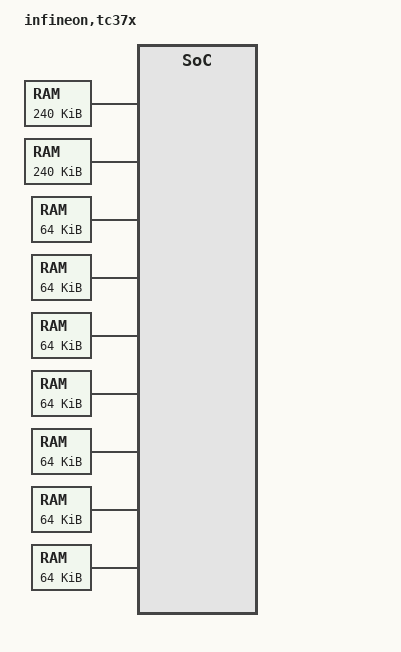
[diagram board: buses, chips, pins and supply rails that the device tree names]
/*
 * Copyright (c) 2024 Infineon Technologies AG
 *
 * SPDX-License-Identifier: Apache-2.0
 */

#include <mem.h>
#include <freq.h>
#include <skeleton.dtsi>
#include <zephyr/dt-bindings/clock/tc3x_clock.h>
#include <zephyr/dt-bindings/gpio/gpio.h>
#include <infineon/tc3x/tc37x-irq.h>
#include <infineon/tc3x/tc3x-common.dtsi>

/ {
	model = "infineon,tc37x";
	compatible = "infineon,tc37x";

	cpus {
		#address-cells = <1>;
		#size-cells = <0>;

		cpu0: cpu@0 {
			compatible = "infineon,tc162";
			reg = <0>;
			clocks = <&fcpu0>;
		};
		cpu1: cpu@1 {
			compatible = "infineon,tc162";
			reg = <1>;
			clocks = <&fcpu1>;
		};
		cpu2: cpu@2 {
			compatible = "infineon,tc162";
			reg = <2>;
			clocks = <&fcpu2>;
		};
	};

	flash_controller: flash_controller@af000000 {
		compatible = "infineon,tc3x-flash-controller";
		#address-cells = <1>;
		#size-cells = <1>;
		reg = <0xaf000000 DT_SIZE_K(256)>;
		flash0: flash@80000000 {
			compatible = "infineon,tc3x-nv-flash","soc-nv-flash";
			write-block-size = <256>;
			reg = <0x80000000 DT_SIZE_M(3)>;
		};
		flash1: flash@80300000 {
			compatible = "infineon,tc3x-nv-flash","soc-nv-flash";
			write-block-size = <256>;
			reg = <0x80300000 DT_SIZE_M(3)>;
		};
	};

	dsram0: memory@70000000 {
		compatible = "zephyr,memory-region","mmio-sram";
		reg = <0x70000000 DT_SIZE_K(240)>;
		zephyr,memory-region = "DSRAM0";
	};
	dsram1: memory@60000000 {
		compatible = "zephyr,memory-region","mmio-sram";
		reg = <0x60000000 DT_SIZE_K(240)>;
		zephyr,memory-region = "DSRAM1";
	};
	dsram2: memory@50000000 {
		compatible = "zephyr,memory-region","mmio-sram";
		reg = <0x50000000 DT_SIZE_K(64)>;
		zephyr,memory-region = "DSRAM2";
	};

	psram0: memory@70100000 {
		compatible = "zephyr,memory-region","mmio-sram";
		reg = <0x70100000 DT_SIZE_K(64)>;
		zephyr,memory-region = "PSRAM0";
	};
	psram1: memory@60100000 {
		compatible = "zephyr,memory-region","mmio-sram";
		reg = <0x60100000 DT_SIZE_K(64)>;
		zephyr,memory-region = "PSRAM1";
	};
	psram2: memory@50100000 {
		compatible = "zephyr,memory-region","mmio-sram";
		reg = <0x50100000 DT_SIZE_K(64)>;
		zephyr,memory-region = "PSRAM2";
	};

	dlmu0: memory@90000000 {
		compatible = "zephyr,memory-region","mmio-sram";
		reg = <0x90000000 DT_SIZE_K(64)>;
		zephyr,memory-region = "DLMU0";
	};
	dlmu1: memory@90010000 {
		compatible = "zephyr,memory-region","mmio-sram";
		reg = <0x90010000 DT_SIZE_K(64)>;
		zephyr,memory-region = "DLMU1";
	};
	dlmu2: memory@90020000 {
		compatible = "zephyr,memory-region","mmio-sram";
		reg = <0x90020000 DT_SIZE_K(64)>;
		zephyr,memory-region = "DLMU2";
	};

	soc {
		#address-cells = <1>;
		#size-cells = <1>;
		interrupt-parent = <&ir>;
		compatible = "simple-bus";
		ranges;

		stm0: timer@f0001000 {
			compatible = "infineon,tc3x-stm";
			reg = <0xF0001000 256>;
			clocks = <&fstm>;
			interrupts = <IRQ_STM0_SR0 1>;
		};
		stm1: timer@f0001100 {
			compatible = "infineon,tc3x-stm";
			reg = <0xF0001100 256>;
			clocks = <&fstm>;
			interrupts = <IRQ_STM1_SR0 1>;
		};
		stm2: timer@f0001200 {
			compatible = "infineon,tc3x-stm";
			reg = <0xF0001200 256>;
			clocks = <&fstm>;
			interrupts = <IRQ_STM2_SR0 1>;
		};

		pinctrl: pinctrl@f003a000 {
			compatible = "infineon,tc3x-pinctrl";
			reg = <0xF003A000 0x100>;
			#address-cells = <1>;
			#size-cells = <1>;

			p00: gpio@f003a000 {
				compatible = "infineon,tc3x-gpio";
				reg = <0xF003A000 0x100>;
				gpio-controller;
				#gpio-cells = <2>;
				status = "disabled";
			};
			p01: gpio@f003a100 {
				compatible = "infineon,tc3x-gpio";
				reg = <0xF003A100 0x100>;
				gpio-controller;
				#gpio-cells = <2>;
				status = "disabled";
			};
			p02: gpio@f003a200 {
				compatible = "infineon,tc3x-gpio";
				reg = <0xF003A200 0x100>;
				gpio-controller;
				#gpio-cells = <2>;
				status = "disabled";
			};
			p10: gpio@f003aa00 {
				compatible = "infineon,tc3x-gpio";
				reg = <0xF003AA00 0x100>;
				gpio-controller;
				#gpio-cells = <2>;
				status = "disabled";
			};
			p11: gpio@f003ab00 {
				compatible = "infineon,tc3x-gpio";
				reg = <0xF003AB00 0x100>;
				gpio-controller;
				#gpio-cells = <2>;
				status = "disabled";
			};
			p12: gpio@f003ac00 {
				compatible = "infineon,tc3x-gpio";
				reg = <0xF003AC00 0x100>;
				gpio-controller;
				#gpio-cells = <2>;
				status = "disabled";
			};
			p13: gpio@f003ad00 {
				compatible = "infineon,tc3x-gpio";
				reg = <0xF003AD00 0x100>;
				gpio-controller;
				#gpio-cells = <2>;
				status = "disabled";
			};
			p14: gpio@f003ae00 {
				compatible = "infineon,tc3x-gpio";
				reg = <0xF003AE00 0x100>;
				gpio-controller;
				#gpio-cells = <2>;
				status = "disabled";
			};
			p15: gpio@f003af00 {
				compatible = "infineon,tc3x-gpio";
				reg = <0xF003AF00 0x100>;
				gpio-controller;
				#gpio-cells = <2>;
				status = "disabled";
			};
			p20: gpio@f003b400 {
				compatible = "infineon,tc3x-gpio";
				reg = <0xF003B400 0x100>;
				gpio-controller;
				#gpio-cells = <2>;
				status = "disabled";
			};
			p21: gpio@f003b500 {
				compatible = "infineon,tc3x-gpio";
				reg = <0xF003B500 0x100>;
				gpio-controller;
				#gpio-cells = <2>;
				status = "disabled";
			};
			p22: gpio@f003b600 {
				compatible = "infineon,tc3x-gpio";
				reg = <0xF003B600 0x100>;
				gpio-controller;
				#gpio-cells = <2>;
				status = "disabled";
			};
			p23: gpio@f003b700 {
				compatible = "infineon,tc3x-gpio";
				reg = <0xF003B700 0x100>;
				gpio-controller;
				#gpio-cells = <2>;
				status = "disabled";
			};
			p32: gpio@f003c000 {
				compatible = "infineon,tc3x-gpio";
				reg = <0xF003C000 0x100>;
				gpio-controller;
				#gpio-cells = <2>;
				status = "disabled";
			};
			p33: gpio@f003c100 {
				compatible = "infineon,tc3x-gpio";
				reg = <0xF003C100 0x100>;
				gpio-controller;
				#gpio-cells = <2>;
				status = "disabled";
			};
			p34: gpio@f003c200 {
				compatible = "infineon,tc3x-gpio";
				reg = <0xF003C200 0x100>;
				gpio-controller;
				#gpio-cells = <2>;
				status = "disabled";
			};
			p40: gpio@f003c800 {
				compatible = "infineon,tc3x-gpio";
				reg = <0xF003C800 0x100>;
				gpio-controller;
				#gpio-cells = <2>;
				status = "disabled";
			};
		};

		asclin0: asclin@f0000600 {
			reg = <0xF0000600 256>;
			interrupts = <IRQ_ASCLIN0_TX 2>, <IRQ_ASCLIN0_RX 3>, <IRQ_ASCLIN0_ERR 4>;
			interrupt-names = "tx", "rx", "err";
			clocks = <&ccu CLOCK_FASCLINF>, <&ccu CLOCK_FASCLINS>;
			clock-names = "fasclinf", "fasclins";
			status = "disabled";
		};
		asclin1: asclin@f0000700 {
			reg = <0xF0000700 256>;
			interrupts = <IRQ_ASCLIN1_TX 2>, <IRQ_ASCLIN1_RX 3>, <IRQ_ASCLIN1_ERR 4>;
			interrupt-names = "tx", "rx", "err";
			clocks = <&ccu CLOCK_FASCLINF>, <&ccu CLOCK_FASCLINS>;
			clock-names = "fasclinf", "fasclins";
			status = "disabled";
		};
		asclin2: asclin@f0000800 {
			reg = <0xF0000800 256>;
			interrupts = <IRQ_ASCLIN2_TX 2>, <IRQ_ASCLIN2_RX 3>, <IRQ_ASCLIN2_ERR 4>;
			interrupt-names = "tx", "rx", "err";
			clocks = <&ccu CLOCK_FASCLINF>, <&ccu CLOCK_FASCLINS>;
			clock-names = "fasclinf", "fasclins";
			status = "disabled";
		};
		asclin3: asclin@f0000900 {
			reg = <0xF0000900 256>;
			interrupts = <IRQ_ASCLIN3_TX 2>, <IRQ_ASCLIN3_RX 3>, <IRQ_ASCLIN3_ERR 4>;
			interrupt-names = "tx", "rx", "err";
			clocks = <&ccu CLOCK_FASCLINF>, <&ccu CLOCK_FASCLINS>;
			clock-names = "fasclinf", "fasclins";
			status = "disabled";
		};
		asclin4: asclin@f0000a00 {
			reg = <0xF0000A00 256>;
			interrupts = <IRQ_ASCLIN4_TX 2>, <IRQ_ASCLIN4_RX 3>, <IRQ_ASCLIN4_ERR 4>;
			interrupt-names = "tx", "rx", "err";
			clocks = <&ccu CLOCK_FASCLINF>, <&ccu CLOCK_FASCLINS>;
			clock-names = "fasclinf", "fasclins";
			status = "disabled";
		};
		asclin5: asclin@f0000b00 {
			reg = <0xF0000B00 256>;
			interrupts = <IRQ_ASCLIN5_TX 2>, <IRQ_ASCLIN5_RX 3>, <IRQ_ASCLIN5_ERR 4>;
			interrupt-names = "tx", "rx", "err";
			clocks = <&ccu CLOCK_FASCLINF>, <&ccu CLOCK_FASCLINS>;
			clock-names = "fasclinf", "fasclins";
			status = "disabled";
		};
		asclin6: asclin@f0000c00 {
			reg = <0xF0000C00 256>;
			interrupts = <IRQ_ASCLIN6_TX 2>, <IRQ_ASCLIN6_RX 3>, <IRQ_ASCLIN6_ERR 4>;
			interrupt-names = "tx", "rx", "err";
			clocks = <&ccu CLOCK_FASCLINF>, <&ccu CLOCK_FASCLINS>;
			clock-names = "fasclinf", "fasclins";
			status = "disabled";
		};
		asclin7: asclin@f0000d00 {
			reg = <0xF0000D00 256>;
			interrupts = <IRQ_ASCLIN7_TX 2>, <IRQ_ASCLIN7_RX 3>, <IRQ_ASCLIN7_ERR 4>;
			interrupt-names = "tx", "rx", "err";
			clocks = <&ccu CLOCK_FASCLINF>, <&ccu CLOCK_FASCLINS>;
			clock-names = "fasclinf", "fasclins";
			status = "disabled";
		};
		asclin8: asclin@f0000e00 {
			reg = <0xF0000E00 256>;
			interrupts = <IRQ_ASCLIN8_TX 2>, <IRQ_ASCLIN8_RX 3>, <IRQ_ASCLIN8_ERR 4>;
			interrupt-names = "tx", "rx", "err";
			clocks = <&ccu CLOCK_FASCLINF>, <&ccu CLOCK_FASCLINS>;
			clock-names = "fasclinf", "fasclins";
			status = "disabled";
		};
		asclin9: asclin@f0000f00 {
			reg = <0xF0000F00 256>;
			interrupts = <IRQ_ASCLIN9_TX 2>, <IRQ_ASCLIN9_RX 3>, <IRQ_ASCLIN9_ERR 4>;
			interrupt-names = "tx", "rx", "err";
			clocks = <&ccu CLOCK_FASCLINF>, <&ccu CLOCK_FASCLINS>;
			clock-names = "fasclinf", "fasclins";
			status = "disabled";
		};
		asclin10: asclin@f02c0a00 {
			reg = <0xF02C0A00 256>;
			interrupts = <IRQ_ASCLIN10_TX 2>, <IRQ_ASCLIN10_RX 3>, <IRQ_ASCLIN10_ERR 4>;
			interrupt-names = "tx", "rx", "err";
			clocks = <&ccu CLOCK_FASCLINF>, <&ccu CLOCK_FASCLINS>;
			clock-names = "fasclinf", "fasclins";
			status = "disabled";
		};
		asclin11: asclin@f02c0b00 {
			reg = <0xF02C0B00 256>;
			interrupts = <IRQ_ASCLIN11_TX 2>, <IRQ_ASCLIN11_RX 3>, <IRQ_ASCLIN11_ERR 4>;
			interrupt-names = "tx", "rx", "err";
			clocks = <&ccu CLOCK_FASCLINF>, <&ccu CLOCK_FASCLINS>;
			clock-names = "fasclinf", "fasclins";
			status = "disabled";
		};
	};
};
